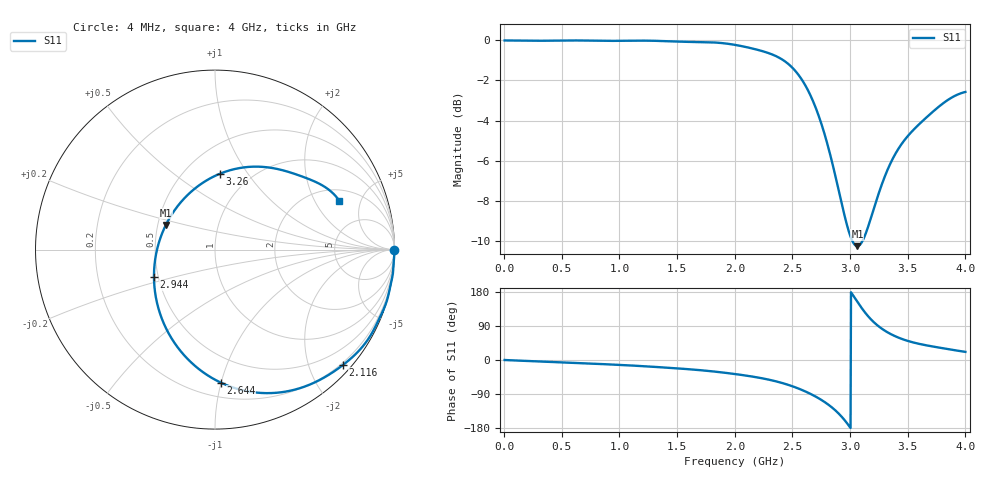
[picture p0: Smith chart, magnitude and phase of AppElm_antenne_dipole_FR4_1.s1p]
! TOUCHSTONE file generated by CST MICROWAVE STUDIO
! Date and time: Thu May 12 15:49:33 2022
! Project name: AppElm_antenne_dipole_FR4.cst
! Parameters = {L=29.1; e=0.035; f=2.45e+09; h=1.6; i=0.8; l1=4; lambda=122.449; ls=30; wl=1.7; ws=80}
! Header version: 2018
! Port assignment regex: !\s*Touchstone port\s*([0-9]+)\s*=\s*(CST MWS port|CST DS port)\s*([0-9]+|Zmin|Zmax)\s*\(\"(.*)\"\)(\s*mode\s*([0-9]+))?.*
! Touchstone port assignment:
! Touchstone port 1 = CST MWS port 1 ("")
# GHz S MA R 50
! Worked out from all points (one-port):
!   1000 points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, 4 MHz to 4 GHz, reference 50 ohm
!   lowest |S11| = -10.3 dB at 3.064 GHz (marker M1), VSWR 1.88, Z = 27.6 + j8.35 ohm
!   |S11| at or under -10 dB: 3.018 GHz to 3.109 GHz (90.6 MHz wide, 2.96 % of centre)
!   S11 on the Smith chart (normalised r, x): 4 MHz: open; 2.116 GHz: 0.16, -2.60; 2.644 GHz: 0.30, -1.00; 2.944 GHz: 0.47, -0.17; 3.26 GHz: 0.73, +0.76; 4 GHz: 2.65, +3.23
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0.004  1 -0.0
0.504  0.9995 -6.1
1.004  0.9978 -13.0
1.504  0.9935 -22.2
1.788  0.9896 -29.4
2.004  0.9747 -37.1
2.116  0.9602 -42.0
2.232  0.9418 -48.0
2.328  0.9218 -54.1
2.416  0.8945 -61.1
2.504  0.8523 -69.8
2.576  0.8027 -78.2
2.644  0.7417 -87.5
2.728  0.648 -101.1
2.812  0.5393 -117.9
2.88  0.4491 -135.1
2.944  0.3734 -155.6
3.004  0.3237 -179.5
3.064  0.3063 153.4
3.108  0.3158 134.1
3.164  0.3479 112.8
3.26  0.4245 86.0
3.364  0.5026 66.7
3.504  0.5786 50.0
3.612  0.6229 41.7
3.772  0.6842 32.7
3.9  0.725 26.2
4  0.7438 21.4
